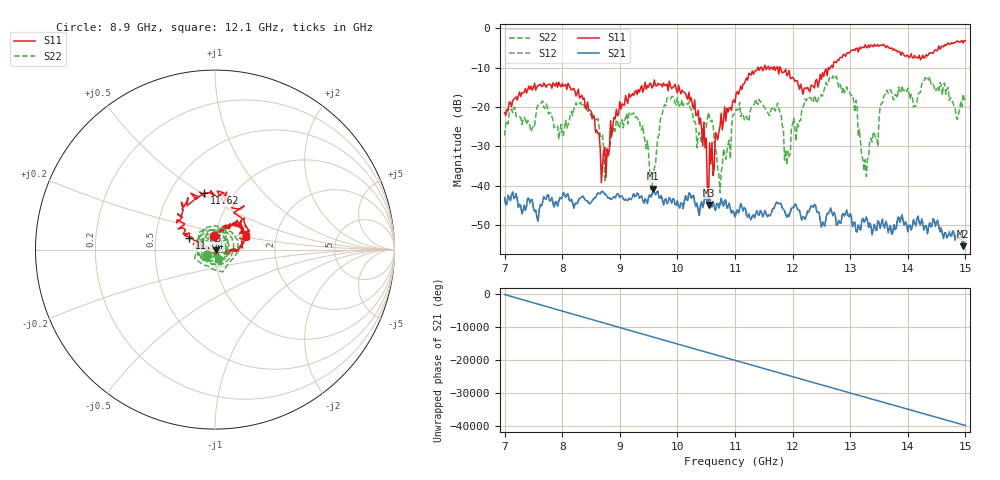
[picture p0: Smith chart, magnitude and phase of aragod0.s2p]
!Keysight Technologies,N5242B,MY47200105,A.14.00.23
!Date: Friday, April 26, 2024 11:08:35
!Correction: S11(C  2-Port  )
!S21(C  2-Port  )
!S12(C  2-Port  )
!S22(C  2-Port  )
!S2P File: Measurement: :
# Hz S  RI  R 50
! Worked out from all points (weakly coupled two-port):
!   401 points, 7 GHz to 15 GHz, reference 50 ohm
!   highest |S21| = -40.75 dB at 9.58 GHz (marker M1); lowest = -55.4 dB at 14.96 GHz (marker M2)
!   lowest |S11| = -44.9 dB at 10.54 GHz (marker M3), VSWR 1.01, Z = 50.3 - j0.46 ohm
!   |S11| at or under -10 dB: start of sweep to 11.4 GHz; 11.40483 GHz to 11.44052 GHz (35.69 MHz wide, 0.312 % of centre); 11.79 GHz to 12.62 GHz (832.5 MHz wide, 6.82 % of centre) (the widest 3 of 10)
!   |S22| runs from -41.8 to -12.1 dB; largest |S21 - S12| = 0.0002
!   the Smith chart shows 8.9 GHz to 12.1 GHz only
!   S11 on the Smith chart (normalised r, x): 8.9 GHz: 0.98, +0.15; 11.04 GHz: 0.74, +0.10; 11.62 GHz: 0.73, +0.51; 12.1 GHz: 1.40, +0.22
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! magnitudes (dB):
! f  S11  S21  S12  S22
! 7 GHz  -21.4  -43.0  -43.0  -27.2
! 8.34 GHz  -16.9  -42.9  -42.8  -19.8
! 8.72 GHz  -31.1  -41.9  -41.9  -30.9
! 8.9 GHz  -22.6  -42.8  -42.8  -25.1
! 9.3 GHz  -16.8  -41.9  -41.9  -22.7
! 9.58 GHz  -14.6  -40.8  -40.8  -37.7
! 9.68 GHz  -14.3  -43.0  -43.0  -27.2
! 9.86 GHz  -13.4  -43.0  -43.0  -17.5
! 10.26 GHz  -19.5  -42.7  -42.9  -20.9
! 10.54 GHz  -44.9  -43.2  -43.2  -21.3
! 10.74 GHz  -24.9  -44.6  -44.6  -41.8
! 11 GHz  -18.8  -48.0  -47.9  -21.2
! 11.04 GHz  -16.0  -46.0  -46.0  -20.7
! 11.62 GHz  -9.9  -47.4  -47.4  -20.9
! 11.9 GHz  -12.0  -48.0  -48.1  -34.7
! 12.1 GHz  -14.4  -46.2  -46.1  -25.0
! 12.34 GHz  -14.4  -45.1  -45.2  -18.8
! 12.98 GHz  -6.3  -47.9  -47.7  -16.1
! 13.26 GHz  -4.1  -48.8  -48.7  -33.4
! 13.68 GHz  -5.1  -50.7  -50.9  -15.9
! 14.96 GHz  -3.7  -55.4  -54.9  -16.7
! 15 GHz  -3.1  -53.0  -52.6  -18.2
